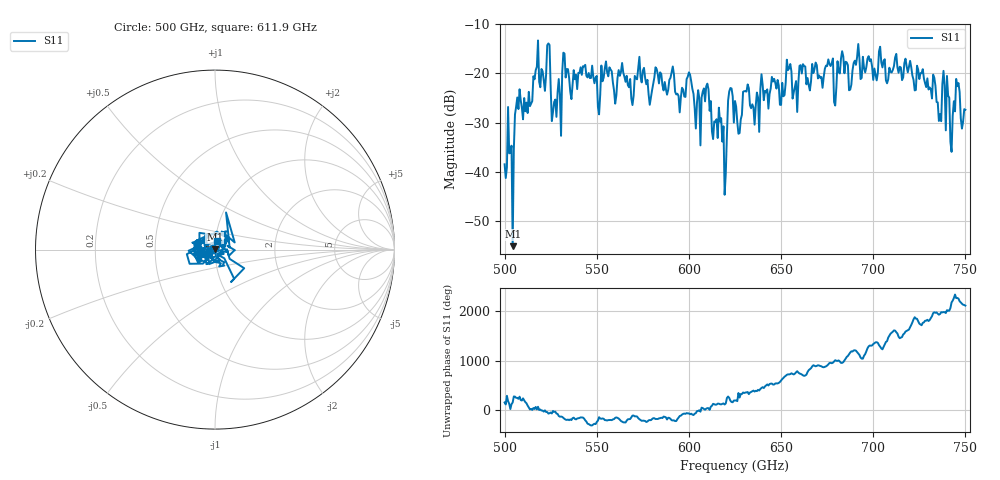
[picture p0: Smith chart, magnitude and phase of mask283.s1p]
!Created with skrf (http://scikit-rf.org).
# GHz S MA R 50.0
!freq magS11 angS11
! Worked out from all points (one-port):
!   401 points, 500 GHz to 750 GHz, reference 50 ohm
!   lowest |S11| = -55.0 dB at 504.4 GHz (marker M1), VSWR 1.00, Z = 49.8 + j0.0637 ohm
!   |S11| at or under -10 dB: start of sweep to end of sweep
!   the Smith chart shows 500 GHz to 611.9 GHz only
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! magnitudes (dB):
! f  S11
! 500 GHz  -38.4
! 504.4 GHz  -55.0
! 506.9 GHz  -24.9
! 513.8 GHz  -26.6
! 516.9 GHz  -19.3
! 523.8 GHz  -13.9
! 526.9 GHz  -25.8
! 531.2 GHz  -19.8
! 562.5 GHz  -20.5
! 579.4 GHz  -24.9
! 590.6 GHz  -19.7
! 593.8 GHz  -24.1
! 600 GHz  -19.8
! 605 GHz  -23.4
! 609.4 GHz  -22.6
! 619.4 GHz  -44.6
! 622.5 GHz  -23.0
! 625 GHz  -25.6
! 656.2 GHz  -25.1
! 683.8 GHz  -16.6
! 687.5 GHz  -23.3
! 691.2 GHz  -16.7
! 718.8 GHz  -19.8
! 735.6 GHz  -29.6
! 738.8 GHz  -22.6
! 743.1 GHz  -28.5
! 745.6 GHz  -22.6
! 750 GHz  -27.4
